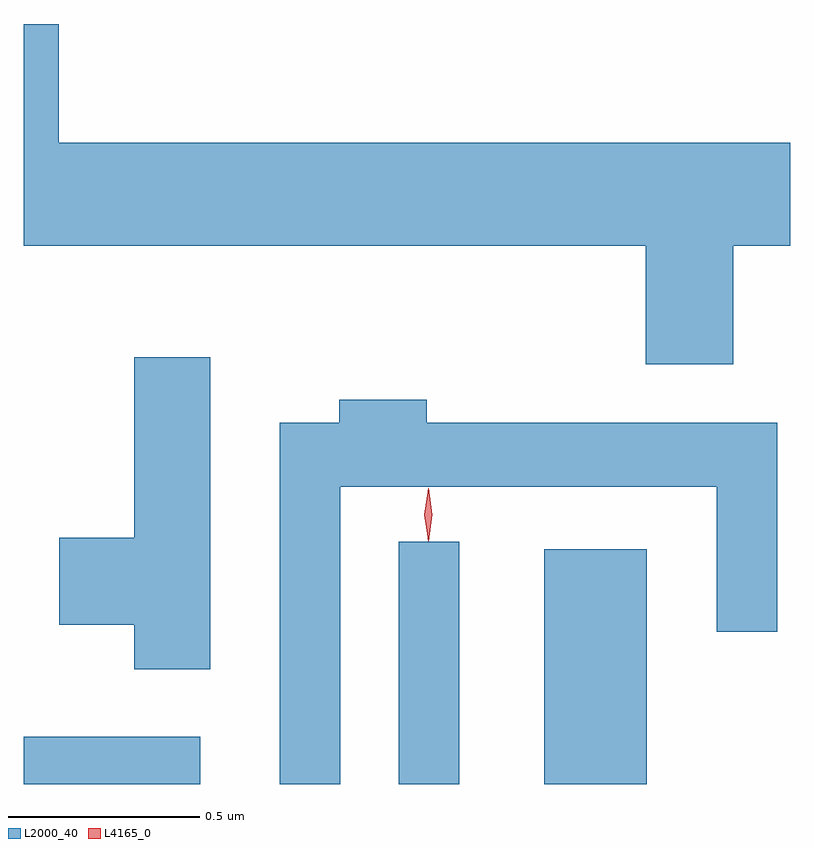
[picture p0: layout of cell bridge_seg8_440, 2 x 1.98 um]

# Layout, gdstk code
import gdstk
lib = gdstk.Library(unit=1e-6, precision=1e-09)
def R(c, l, rs):  # rectangles x0, y0, x1, y1
    for r in rs: c.add(gdstk.rectangle(r[:2], r[2:], *l))
def P(c, l, *ps):  # polygons
    for p in ps: c.add(gdstk.Polygon(p, *l))
L2000_40 = (2000, 40)
L4165_0 = (4165, 0)

bridge_seg8_440 = lib.new_cell('bridge_seg8_440')
R(bridge_seg8_440, L2000_40, [(860.658,1843.891,861.119,1844.014), (861.636,1843.891,861.794,1844.523), (862.016,1843.891,862.284,1844.504)])
P(bridge_seg8_440, L2000_40, [(860.749,1845.874),(860.658,1845.874),(860.658,1845.296),(862.281,1845.296),(862.281,1844.986),(862.509,1844.986),(862.509,1845.296),(862.658,1845.296),(862.658,1845.564),(860.749,1845.564)],
  [(861.144,1845.004),(860.946,1845.004),(860.946,1844.534),(860.751,1844.534),(860.751,1844.306),(860.946,1844.306),(860.946,1844.191),(861.144,1844.191)],
  [(861.484,1844.666),(862.466,1844.666),(862.466,1844.288),(862.624,1844.288),(862.624,1844.834),(861.709,1844.834),(861.709,1844.894),(861.481,1844.894),(861.481,1844.834),(861.326,1844.834),(861.326,1843.891),(861.484,1843.891)])
P(bridge_seg8_440, L4165_0, [(861.714,1844.527),(861.713,1844.528),(861.703,1844.594),(861.713,1844.66),(861.713,1844.66),(861.714,1844.66),(861.724,1844.594),(861.714,1844.528)],
  [(861.714,1844.524),(861.714,1844.524),(861.704,1844.593),(861.714,1844.663),(861.714,1844.663),(861.715,1844.663),(861.724,1844.593),(861.715,1844.524)])

lib.write_gds('bridge_seg8_440.gds')
